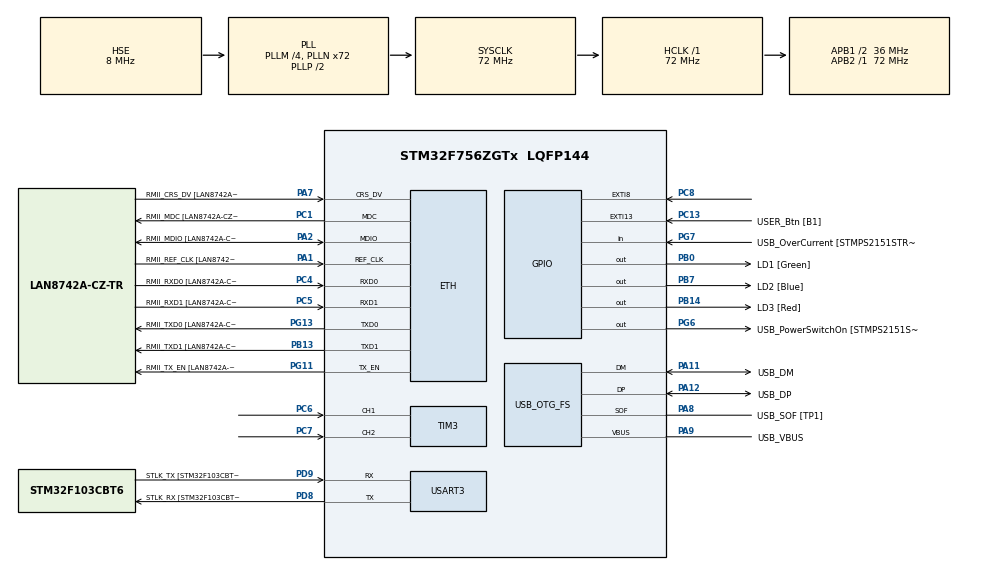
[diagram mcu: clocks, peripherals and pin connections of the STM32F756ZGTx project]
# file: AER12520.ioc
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ETH.MediaInterface=HAL_ETH_RMII_MODE
ETH.PHY_Name=LAN8742A_PHY_ADDRESS
ETH.PHY_Value=0
ETH.PhyAddress=0
Mcu.Family=STM32F7
Mcu.Name=STM32F756ZGTx
Mcu.Package=LQFP144
NVIC.EXTI15_10_IRQn=true\:0\:0\:false\:false\:true\:true\:true\:true
NVIC.EXTI9_5_IRQn=true\:0\:0\:false\:false\:true\:true\:true\:true
NVIC.PriorityGroup=NVIC_PRIORITYGROUP_4
PA1.GPIO_Label=RMII_REF_CLK [LAN8742A-CZ-TR_REFCLK0]
PA1.Mode=RMII
PA1.Signal=ETH_REF_CLK
PA10.GPIO_Label=USB_ID
PA10.Signal=USB_OTG_FS_ID
PA11.GPIO_Label=USB_DM
PA11.Mode=Device_Only
PA11.Signal=USB_OTG_FS_DM
PA12.GPIO_Label=USB_DP
PA12.Mode=Device_Only
PA12.Signal=USB_OTG_FS_DP
PA13.GPIO_Label=TMS
PA13.Mode=Serial_Wire
PA13.Signal=SYS_JTMS-SWDIO
PA14.GPIO_Label=TCK
PA14.Mode=Serial_Wire
PA14.Signal=SYS_JTCK-SWCLK
PA2.GPIO_Label=RMII_MDIO [LAN8742A-CZ-TR_MDIO]
PA2.Mode=RMII
PA2.Signal=ETH_MDIO
PA7.GPIO_Label=RMII_CRS_DV [LAN8742A-CZ-TR_CRS_DV]
PA7.Mode=RMII
PA7.Signal=ETH_CRS_DV
PA8.GPIO_Label=USB_SOF [TP1]
PA8.Mode=Activate_SOF_FS
PA8.Signal=USB_OTG_FS_SOF
PA9.GPIO_Label=USB_VBUS
PA9.Mode=Activate_VBUS
PA9.Signal=USB_OTG_FS_VBUS
PB0.GPIO_Label=LD1 [Green]
PB0.Signal=GPIO_Output
PB13.GPIO_Label=RMII_TXD1 [LAN8742A-CZ-TR_TXD1]
PB13.Mode=RMII
PB13.Signal=ETH_TXD1
PB14.GPIO_Label=LD3 [Red]
PB14.Signal=GPIO_Output
PB3.GPIO_Label=SW0
PB3.Signal=SYS_JTDO-SWO
PB7.GPIO_Label=LD2 [Blue]
PB7.Signal=GPIO_Output
PC1.GPIO_Label=RMII_MDC [LAN8742A-CZ-TR_MDC]
PC1.Mode=RMII
PC1.Signal=ETH_MDC
PC13.GPIO_Label=USER_Btn [B1]
PC13.GPIO_ModeDefaultEXTI=GPIO_MODE_IT_RISING
PC13.Signal=GPXTI13
PC14/OSC32_IN.Mode=LSE-External-Oscillator
PC14/OSC32_IN.Signal=RCC_OSC32_IN
PC15/OSC32_OUT.Mode=LSE-External-Oscillator
PC15/OSC32_OUT.Signal=RCC_OSC32_OUT
PC4.GPIO_Label=RMII_RXD0 [LAN8742A-CZ-TR_RXD0]
PC4.Mode=RMII
PC4.Signal=ETH_RXD0
PC5.GPIO_Label=RMII_RXD1 [LAN8742A-CZ-TR_RXD1]
PC5.Mode=RMII
PC5.Signal=ETH_RXD1
PC6.Signal=S_TIM3_CH1
PC7.Signal=S_TIM3_CH2
PC8.GPIO_ModeDefaultEXTI=GPIO_MODE_IT_RISING
PC8.Signal=GPXTI8
PD8.GPIO_Label=STLK_RX [STM32F103CBT6_PA3]
PD8.Mode=Asynchronous
PD8.Signal=USART3_TX
PD9.GPIO_Label=STLK_TX [STM32F103CBT6_PA2]
PD9.Mode=Asynchronous
PD9.Signal=USART3_RX
PG11.GPIO_Label=RMII_TX_EN [LAN8742A-CZ-TR_TXEN]
PG11.Mode=RMII
PG11.Signal=ETH_TX_EN
PG13.GPIO_Label=RMII_TXD0 [LAN8742A-CZ-TR_TXD0]
PG13.Mode=RMII
PG13.Signal=ETH_TXD0
PG6.GPIO_Label=USB_PowerSwitchOn [STMPS2151STR_EN]
PG6.Signal=GPIO_Output
PG7.GPIO_Label=USB_OverCurrent [STMPS2151STR_FAULT]
PG7.Signal=GPIO_Input
PH0/OSC_IN.GPIO_Label=MCO [STM32F103CBT6_PA8]
PH0/OSC_IN.Mode=HSE-External-Clock-Source
PH0/OSC_IN.Signal=RCC_OSC_IN
PH1/OSC_OUT.Mode=HSE-External-Clock-Source
PH1/OSC_OUT.Signal=RCC_OSC_OUT
ProjectManager.HeapSize=0x200
ProjectManager.StackSize=0x400
ProjectManager.TargetToolchain=STM32CubeIDE
RCC.48MHZClocksFreq_Value=24000000
RCC.AHBFreq_Value=72000000
RCC.APB1CLKDivider=RCC_HCLK_DIV2
RCC.APB1Freq_Value=36000000
RCC.APB1TimFreq_Value=72000000
RCC.APB2Freq_Value=72000000
RCC.APB2TimFreq_Value=72000000
RCC.CortexFreq_Value=72000000
RCC.HCLKFreq_Value=72000000
RCC.HSE_VALUE=8000000
RCC.HSI_VALUE=16000000
RCC.PLLM=4
RCC.PLLMUL=RCC_PLL_MUL9
RCC.PLLN=72
RCC.PLLQ=3
RCC.PRESCALERUSB=RCC_USBCLKSOURCE_PLL_DIV1_5
RCC.SYSCLKFreq_VALUE=72000000
RCC.SYSCLKSource=RCC_SYSCLKSOURCE_PLLCLK
RCC.SYSCLKSourceVirtual=RCC_SYSCLKSOURCE_PLLCLK
RCC.USBFreq_Value=48000000
RCC.VCOOutputFreq_Value=144000000
SH.S_TIM3_CH1.0=TIM3_CH1,Encoder_Interface
SH.S_TIM3_CH2.0=TIM3_CH2,Encoder_Interface
TIM3.EncoderMode=TIM_ENCODERMODE_TI12
USART3.VirtualMode-Asynchronous=VM_ASYNC
USB_OTG_FS.VirtualMode=Device_Only
board=NUCLEO-F756ZG

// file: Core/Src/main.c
/* USER CODE BEGIN Header */
/**
  ******************************************************************************
  * @file           : main.c
  * @brief          : Main program body
  ******************************************************************************
  * @attention
  *
  * Copyright (c) 2023 STMicroelectronics.
  * All rights reserved.
  *
  * This software is licensed under terms that can be found in the LICENSE file
  * in the root directory of this software component.
  * If no LICENSE file comes with this software, it is provided AS-IS.
  *
  ******************************************************************************
  */
/* USER CODE END Header */
#include "main.h"
#include "string.h"

/* USER CODE BEGIN Includes */
#include "stdio.h"
#include "stdbool.h"
#include "string.h"
/* USER CODE END Includes */

#if defined ( __ICCARM__ ) /*!< IAR Compiler */
#pragma location=0x2004c000
ETH_DMADescTypeDef  DMARxDscrTab[ETH_RX_DESC_CNT]; /* Ethernet Rx DMA Descriptors */
#pragma location=0x2004c0a0
ETH_DMADescTypeDef  DMATxDscrTab[ETH_TX_DESC_CNT]; /* Ethernet Tx DMA Descriptors */

#elif defined ( __CC_ARM )  /* MDK ARM Compiler */

__attribute__((at(0x2004c000))) ETH_DMADescTypeDef  DMARxDscrTab[ETH_RX_DESC_CNT]; /* Ethernet Rx DMA Descriptors */
__attribute__((at(0x2004c0a0))) ETH_DMADescTypeDef  DMATxDscrTab[ETH_TX_DESC_CNT]; /* Ethernet Tx DMA Descriptors */

#elif defined ( __GNUC__ ) /* GNU Compiler */
ETH_DMADescTypeDef DMARxDscrTab[ETH_RX_DESC_CNT] __attribute__((section(".RxDecripSection"))); /* Ethernet Rx DMA Descriptors */
ETH_DMADescTypeDef DMATxDscrTab[ETH_TX_DESC_CNT] __attribute__((section(".TxDecripSection")));   /* Ethernet Tx DMA Descriptors */

#endif

ETH_TxPacketConfig TxConfig;

ETH_HandleTypeDef heth;

TIM_HandleTypeDef htim3;

UART_HandleTypeDef huart3;

PCD_HandleTypeDef hpcd_USB_OTG_FS;

void SystemClock_Config(void);
static void MX_GPIO_Init(void);
static void MX_ETH_Init(void);
static void MX_USART3_UART_Init(void);
static void MX_USB_OTG_FS_PCD_Init(void);
static void MX_TIM3_Init(void);

/* USER CODE BEGIN 0 */
bool angle_initialize = false;
float base_angle;
float cnt;
char scnt[100];
void HAL_GPIO_EXTI_Callback(uint16_t GPIO_Pin) {
  if (GPIO_Pin == GPIO_PIN_8) {
	  char s[100];
	  cnt = ((TIM3 -> CNT) % 2000) * 0.18;
//	  sprintf(s, "Z raise\r\n");
//	  HAL_UART_Transmit( &huart3, s, strlen(s) + 1, 0xFFFF);
	  if (!angle_initialize) {
		  angle_initialize = true;
		  base_angle = cnt;
	  }
	  sprintf(s, "Z Raize! current angle: %f, base angle: %f\r\n", cnt, base_angle);
	  HAL_UART_Transmit( &huart3, s, strlen(s) + 1, 0xFFFF);
	  cnt = base_angle;
  }
}
/* USER CODE END 0 */

int main(void)
{

  /* MCU Configuration--------------------------------------------------------*/

  /* Reset of all peripherals, Initializes the Flash interface and the Systick. */
  HAL_Init();

  /* Configure the system clock */
  SystemClock_Config();

  /* Initialize all configured peripherals */
  MX_GPIO_Init();
  MX_ETH_Init();
  MX_USART3_UART_Init();
  MX_USB_OTG_FS_PCD_Init();
  MX_TIM3_Init();
  /* USER CODE BEGIN 2 */
  HAL_TIM_Encoder_Start(&htim3,TIM_CHANNEL_ALL);
  /* USER CODE END 2 */

  /* Infinite loop */
  /* USER CODE BEGIN WHILE */
  while (1)
  {
	cnt = ((TIM3 -> CNT) % 2000) * 0.18;
//	sprintf(scnt "%lf\r\n", cnt);
	sprintf(scnt, "%f\r\n", cnt);
//	HAL_UART_Transmit( &huart3, scnt, strlen(scnt) + 1, 0xFFFF);
	HAL_Delay( 100 );
    /* USER CODE END WHILE */

  }
}

void SystemClock_Config(void)
{
  RCC_OscInitTypeDef RCC_OscInitStruct = {0};
  RCC_ClkInitTypeDef RCC_ClkInitStruct = {0};

  /** Configure LSE Drive Capability
  */
  HAL_PWR_EnableBkUpAccess();

  /** Configure the main internal regulator output voltage
  */
  __HAL_RCC_PWR_CLK_ENABLE();
  __HAL_PWR_VOLTAGESCALING_CONFIG(PWR_REGULATOR_VOLTAGE_SCALE3);

  /** Initializes the RCC Oscillators according to the specified parameters
  * in the RCC_OscInitTypeDef structure.
  */
  RCC_OscInitStruct.OscillatorType = RCC_OSCILLATORTYPE_HSE;
  RCC_OscInitStruct.HSEState = RCC_HSE_BYPASS;
  RCC_OscInitStruct.PLL.PLLState = RCC_PLL_ON;
  RCC_OscInitStruct.PLL.PLLSource = RCC_PLLSOURCE_HSE;
  RCC_OscInitStruct.PLL.PLLM = 4;
  RCC_OscInitStruct.PLL.PLLN = 72;
  RCC_OscInitStruct.PLL.PLLP = RCC_PLLP_DIV2;
  RCC_OscInitStruct.PLL.PLLQ = 3;
  if (HAL_RCC_OscConfig(&RCC_OscInitStruct) != HAL_OK)
  {
    Error_Handler();
  }

  /** Initializes the CPU, AHB and APB buses clocks
  */
  RCC_ClkInitStruct.ClockType = RCC_CLOCKTYPE_HCLK|RCC_CLOCKTYPE_SYSCLK
                              |RCC_CLOCKTYPE_PCLK1|RCC_CLOCKTYPE_PCLK2;
  RCC_ClkInitStruct.SYSCLKSource = RCC_SYSCLKSOURCE_PLLCLK;
  RCC_ClkInitStruct.AHBCLKDivider = RCC_SYSCLK_DIV1;
  RCC_ClkInitStruct.APB1CLKDivider = RCC_HCLK_DIV2;
  RCC_ClkInitStruct.APB2CLKDivider = RCC_HCLK_DIV1;

  if (HAL_RCC_ClockConfig(&RCC_ClkInitStruct, FLASH_LATENCY_2) != HAL_OK)
  {
    Error_Handler();
  }
}

static void MX_ETH_Init(void)
{

   static uint8_t MACAddr[6];

  heth.Instance = ETH;
  MACAddr[0] = 0x00;
  MACAddr[1] = 0x80;
  MACAddr[2] = 0xE1;
  MACAddr[3] = 0x00;
  MACAddr[4] = 0x00;
  MACAddr[5] = 0x00;
  heth.Init.MACAddr = &MACAddr[0];
  heth.Init.MediaInterface = HAL_ETH_RMII_MODE;
  heth.Init.TxDesc = DMATxDscrTab;
  heth.Init.RxDesc = DMARxDscrTab;
  heth.Init.RxBuffLen = 1524;

  if (HAL_ETH_Init(&heth) != HAL_OK)
  {
    Error_Handler();
  }

  memset(&TxConfig, 0 , sizeof(ETH_TxPacketConfig));
  TxConfig.Attributes = ETH_TX_PACKETS_FEATURES_CSUM | ETH_TX_PACKETS_FEATURES_CRCPAD;
  TxConfig.ChecksumCtrl = ETH_CHECKSUM_IPHDR_PAYLOAD_INSERT_PHDR_CALC;
  TxConfig.CRCPadCtrl = ETH_CRC_PAD_INSERT;

}

static void MX_TIM3_Init(void)
{

  TIM_Encoder_InitTypeDef sConfig = {0};
  TIM_MasterConfigTypeDef sMasterConfig = {0};

  htim3.Instance = TIM3;
  htim3.Init.Prescaler = 0;
  htim3.Init.CounterMode = TIM_COUNTERMODE_UP;
  htim3.Init.Period = 65535;
  htim3.Init.ClockDivision = TIM_CLOCKDIVISION_DIV1;
  htim3.Init.AutoReloadPreload = TIM_AUTORELOAD_PRELOAD_DISABLE;
  sConfig.EncoderMode = TIM_ENCODERMODE_TI12;
  sConfig.IC1Polarity = TIM_ICPOLARITY_RISING;
  sConfig.IC1Selection = TIM_ICSELECTION_DIRECTTI;
  sConfig.IC1Prescaler = TIM_ICPSC_DIV1;
  sConfig.IC1Filter = 0;
  sConfig.IC2Polarity = TIM_ICPOLARITY_RISING;
  sConfig.IC2Selection = TIM_ICSELECTION_DIRECTTI;
  sConfig.IC2Prescaler = TIM_ICPSC_DIV1;
  sConfig.IC2Filter = 0;
  if (HAL_TIM_Encoder_Init(&htim3, &sConfig) != HAL_OK)
  {
    Error_Handler();
  }
  sMasterConfig.MasterOutputTrigger = TIM_TRGO_RESET;
  sMasterConfig.MasterSlaveMode = TIM_MASTERSLAVEMODE_DISABLE;
  if (HAL_TIMEx_MasterConfigSynchronization(&htim3, &sMasterConfig) != HAL_OK)
  {
    Error_Handler();
  }

}

static void MX_USART3_UART_Init(void)
{

  huart3.Instance = USART3;
  huart3.Init.BaudRate = 115200;
  huart3.Init.WordLength = UART_WORDLENGTH_8B;
  huart3.Init.StopBits = UART_STOPBITS_1;
  huart3.Init.Parity = UART_PARITY_NONE;
  huart3.Init.Mode = UART_MODE_TX_RX;
  huart3.Init.HwFlowCtl = UART_HWCONTROL_NONE;
  huart3.Init.OverSampling = UART_OVERSAMPLING_16;
  huart3.Init.OneBitSampling = UART_ONE_BIT_SAMPLE_DISABLE;
  huart3.AdvancedInit.AdvFeatureInit = UART_ADVFEATURE_NO_INIT;
  if (HAL_UART_Init(&huart3) != HAL_OK)
  {
    Error_Handler();
  }

}

static void MX_USB_OTG_FS_PCD_Init(void)
{

  hpcd_USB_OTG_FS.Instance = USB_OTG_FS;
  hpcd_USB_OTG_FS.Init.dev_endpoints = 6;
  hpcd_USB_OTG_FS.Init.speed = PCD_SPEED_FULL;
  hpcd_USB_OTG_FS.Init.dma_enable = DISABLE;
  hpcd_USB_OTG_FS.Init.phy_itface = PCD_PHY_EMBEDDED;
  hpcd_USB_OTG_FS.Init.Sof_enable = ENABLE;
  hpcd_USB_OTG_FS.Init.low_power_enable = DISABLE;
  hpcd_USB_OTG_FS.Init.lpm_enable = DISABLE;
  hpcd_USB_OTG_FS.Init.vbus_sensing_enable = ENABLE;
  hpcd_USB_OTG_FS.Init.use_dedicated_ep1 = DISABLE;
  if (HAL_PCD_Init(&hpcd_USB_OTG_FS) != HAL_OK)
  {
    Error_Handler();
  }

}

static void MX_GPIO_Init(void)
{
  GPIO_InitTypeDef GPIO_InitStruct = {0};

  /* GPIO Ports Clock Enable */
  __HAL_RCC_GPIOC_CLK_ENABLE();
  __HAL_RCC_GPIOH_CLK_ENABLE();
  __HAL_RCC_GPIOA_CLK_ENABLE();
  __HAL_RCC_GPIOB_CLK_ENABLE();
  __HAL_RCC_GPIOD_CLK_ENABLE();
  __HAL_RCC_GPIOG_CLK_ENABLE();

  /*Configure GPIO pin Output Level */
  HAL_GPIO_WritePin(GPIOB, LD1_Pin|LD3_Pin|LD2_Pin, GPIO_PIN_RESET);

  /*Configure GPIO pin Output Level */
  HAL_GPIO_WritePin(USB_PowerSwitchOn_GPIO_Port, USB_PowerSwitchOn_Pin, GPIO_PIN_RESET);

  /*Configure GPIO pins : USER_Btn_Pin PC8 */
  GPIO_InitStruct.Pin = USER_Btn_Pin|GPIO_PIN_8;
  GPIO_InitStruct.Mode = GPIO_MODE_IT_RISING;
  GPIO_InitStruct.Pull = GPIO_NOPULL;
  HAL_GPIO_Init(GPIOC, &GPIO_InitStruct);

  /*Configure GPIO pins : LD1_Pin LD3_Pin LD2_Pin */
  GPIO_InitStruct.Pin = LD1_Pin|LD3_Pin|LD2_Pin;
  GPIO_InitStruct.Mode = GPIO_MODE_OUTPUT_PP;
  GPIO_InitStruct.Pull = GPIO_NOPULL;
  GPIO_InitStruct.Speed = GPIO_SPEED_FREQ_LOW;
  HAL_GPIO_Init(GPIOB, &GPIO_InitStruct);

  /*Configure GPIO pin : USB_PowerSwitchOn_Pin */
  GPIO_InitStruct.Pin = USB_PowerSwitchOn_Pin;
  GPIO_InitStruct.Mode = GPIO_MODE_OUTPUT_PP;
  GPIO_InitStruct.Pull = GPIO_NOPULL;
  GPIO_InitStruct.Speed = GPIO_SPEED_FREQ_LOW;
  HAL_GPIO_Init(USB_PowerSwitchOn_GPIO_Port, &GPIO_InitStruct);

  /*Configure GPIO pin : USB_OverCurrent_Pin */
  GPIO_InitStruct.Pin = USB_OverCurrent_Pin;
  GPIO_InitStruct.Mode = GPIO_MODE_INPUT;
  GPIO_InitStruct.Pull = GPIO_NOPULL;
  HAL_GPIO_Init(USB_OverCurrent_GPIO_Port, &GPIO_InitStruct);

  /* EXTI interrupt init*/
  HAL_NVIC_SetPriority(EXTI9_5_IRQn, 0, 0);
  HAL_NVIC_EnableIRQ(EXTI9_5_IRQn);

  HAL_NVIC_SetPriority(EXTI15_10_IRQn, 0, 0);
  HAL_NVIC_EnableIRQ(EXTI15_10_IRQn);

}

void Error_Handler(void)
{
  __disable_irq();
  while (1)
  {
  }
}
